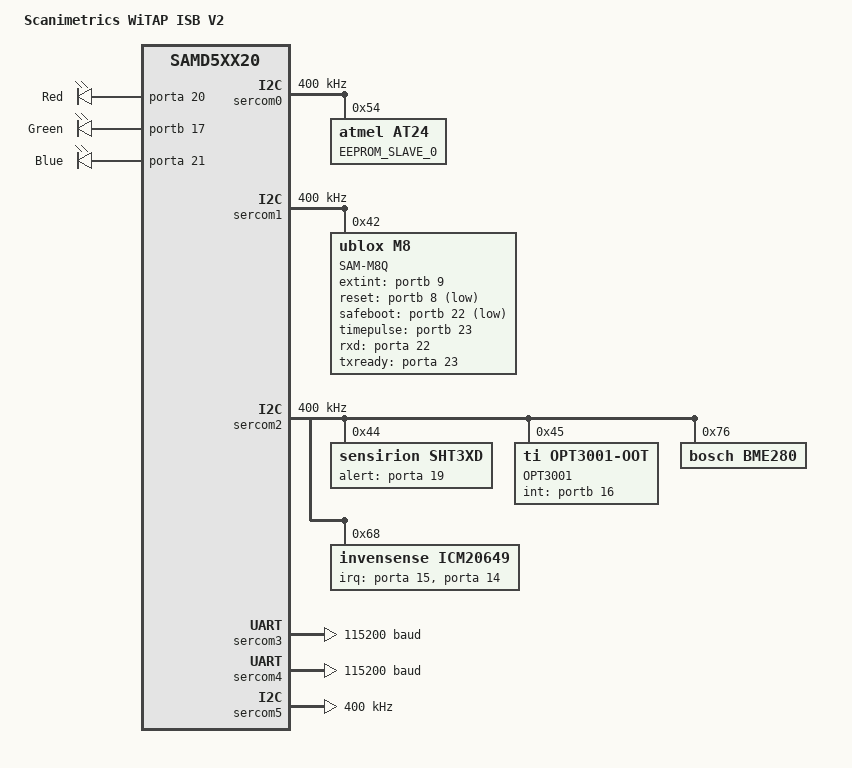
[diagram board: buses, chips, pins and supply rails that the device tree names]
/*
 * Copyright (c) 2019 Scanimetrics Inc.
 *
 * SPDX-License-Identifier: Apache-2.0
 */

/*
 *
 *  See this guide for device tree info
 *  https://docs.zephyrproject.org/latest/guides/dts/index.html
 *
 *  The device tree specification is here:
 *  https://www.devicetree.org/specifications/
 *
 */

/dts-v1/;
#include <scanimetrics/samd5xx20.dtsi>
#include <dt-bindings/gpio/gpio.h>
#include <../../modules/hal/atmel/asf/sam0/include/samd51/instance/sercom0.h>
#include <../../modules/hal/atmel/asf/sam0/include/samd51/instance/sercom1.h>
#include <../../modules/hal/atmel/asf/sam0/include/samd51/instance/sercom2.h>
#include <../../modules/hal/atmel/asf/sam0/include/samd51/instance/sercom3.h>
#include <../../modules/hal/atmel/asf/sam0/include/samd51/instance/sercom4.h>
#include <../../modules/hal/atmel/asf/sam0/include/samd51/instance/sercom5.h>
#include <../../modules/hal/atmel/asf/sam0/include/samd51/instance/sercom6.h>
#include <../../modules/hal/atmel/asf/sam0/include/samd51/instance/sercom7.h>

/ {
	model = "Scanimetrics WiTAP ISB V2";
	compatible = "scanimetrics,witap_isb_v2";

	chosen {
		/* console UART can be overridden by CONFIG_UART_CONSOLE_ON_DEV_NAME */
		zephyr,console = &sercom4;
		/* shell UART can be overridden by CONFIG_UART_SHELL_ON_DEV_NAME */
		zephyr,shell-uart = &sercom4;
		zephyr,sram = &sram0;
		zephyr,flash = &flash0;
		zephyr,code-partition = &code_partition;
	};

	/* These aliases are provided for compatibility with samples */
	aliases {
		led-red = &led0;
		led-green = &led1;
		led-blue = &led2;
	};

	led-pins {
		compatible = "gpio-leds";
		led0: led_0 {
			gpios = <&porta 20 (GPIO_ACTIVE_HIGH)>;
			label = "Red";
		};
		led1: led_1 {
			gpios = <&portb 17 (GPIO_ACTIVE_HIGH)>;
			label = "Green";
		};
		led2: led_2 {
			gpios = <&porta 21 (GPIO_ACTIVE_HIGH)>;
			label = "Blue";
		};
	};

	enable-pins {
		compatible = "gpio";
		sensor1: pa6 {
			gpios = <&porta 6 (GPIO_ACTIVE_HIGH)>;
			label = "sensor-en1";
		};
		sensor2: pa2 {
			gpios = <&porta 2 (GPIO_ACTIVE_HIGH)>;
			label = "sensor-en2";
		};
	};

	host-pins {
		compatible = "gpio";
		hostint1: pa10 {
			gpios = <&porta 10 (GPIO_ACTIVE_HIGH)>;
			label = "host-int1";
		};
	};

	interrupt-pins {
		compatible = "gpio";
		imuint1: pa15 {
			gpios = <&porta 15 (GPIO_ACTIVE_HIGH)>;
			label = "imu-int1";
		};
		imuint2: pa14 {
			gpios = <&porta 14 (GPIO_ACTIVE_HIGH)>;
			label = "imu-int2";
		};
		alsalert: pb16 {
			gpios = <&portb 16 (GPIO_ACTIVE_HIGH)>;
			label = "als-alert";
		};
		thsalert: pa19 {
			gpios = <&porta 19 (GPIO_ACTIVE_HIGH)>;
			label = "ths-alert";
		};
	};

	debug-pins {
		compatible = "gpio";
		debug0: debug_0 {
			gpios = <&portb 4 0>;
			label = "DEBUG0";
		};
		debug1: debug_1 {
			gpios = <&portb 5 0>;
			label = "DEBUG1";
		};
		debug2: debug_2 {
			gpios = <&portb 0 0>;
			label = "DEBUG2";
		};
	};

	unused-pins {
		compatible = "gpio";
		pa3: pa3 {
			gpios = <&porta 3 0>;
			label = "pa3";
		};
		pa11: pa11 {
			gpios = <&porta 11 0>;
			label = "pa11";
		};
		// pa12: pa12 {
		// 	gpios = <&porta 12 0>;
		// 	label = "pa12";
		// };
		// pa13: pa13 {
		// 	gpios = <&porta 13 0>;
		// 	label = "pa13";
		// };
		pa18: pa18 {
			gpios = <&porta 18 0>;
			label = "pa18";
		};
		pa27: pa27 {
			gpios = <&porta 27 0>;
			label = "pa27";
		};
		pa28: pa28 {
			gpios = <&porta 28 0>;
			label = "pa28";
		};
		pb4: pb4 {
			gpios = <&portb 4 0>;
			label = "pb4";
		};
		pb5: pb5 {
			gpios = <&portb 5 0>;
			label = "pb5";
		};
		pb6: pb6 {
			gpios = <&portb 6 0>;
			label = "pb6";
		};
		pb7: pb7 {
			gpios = <&portb 7 0>;
			label = "pb7";
		};
		pb10: pb10 {
			gpios = <&portb 10 0>;
			label = "pb10";
		};
		pb11: pb11 {
			gpios = <&portb 11 0>;
			label = "pb11";
		};
		pb12: pb12 {
			gpios = <&portb 12 0>;
			label = "pb12";
		};
		pb13: pb13 {
			gpios = <&portb 13 0>;
			label = "pb13";
		};
		pb14: pb14 {
			gpios = <&portb 14 0>;
			label = "pb14";
		};
		pb15: pb15 {
			gpios = <&portb 15 0>;
			label = "pb15";
		};
		pb30: pb30 {
			gpios = <&portb 30 0>;
			label = "pb30";
		};
		pb31: pb31 {
			gpios = <&portb 31 0>;
			label = "pb31";
		};
	};
};

&cpu0 {
	clock-frequency = <48000000>;
};

//  SERCOM0 is used for board to board communication between ISB and MKR WAN (DOCK)
&sercom0 {
	compatible = "atmel,sam0-i2c";
	#address-cells = <1>;
	#size-cells = <0>;
	//  see ZEPHYR_INCLUDE_DT_BINDINGS_I2C_I2C_H_ for frequency defines
	clock-frequency = <I2C_BITRATE_FAST>;
	dmas = <&dmac 0 SERCOM0_DMAC_ID_TX>, <&dmac 0 SERCOM0_DMAC_ID_RX>;
	dma-names = "tx", "rx";

	eeprom@54 {
		compatible = "atmel,at24";
		reg = <0x54>;
		label = "EEPROM_SLAVE_0";
		size = <256>;
		pagesize = <16>;
		address-width = <8>;
		timeout = <5>;
	};
};

//  SERCOM1 is connected to the onboard GPS module i2c
&sercom1 {
	compatible = "atmel,sam0-i2c";
	//  see ZEPHYR_INCLUDE_DT_BINDINGS_I2C_I2C_H_ for frequency defines
	clock-frequency = <I2C_BITRATE_FAST>;
	// label = "I2C_1";
	#address-cells = <1>;
	#size-cells = <0>;
	dmas = <&dmac 1 SERCOM1_DMAC_ID_TX>, <&dmac 1 SERCOM1_DMAC_ID_RX>;
	dma-names = "tx", "rx";

	samm8q: samm8q@42 {
		compatible = "ublox,m8";
		label = "SAM-M8Q";
		reg = <0x42>;
		extint-gpios = <&portb 9 GPIO_ACTIVE_HIGH>;
		reset-gpios = <&portb 8 GPIO_ACTIVE_LOW>;
		safeboot-gpios = <&portb 22 GPIO_ACTIVE_LOW>;
		timepulse-gpios = <&portb 23 GPIO_ACTIVE_HIGH>;
		rxd-gpios = <&porta 22 GPIO_ACTIVE_HIGH>;
		txready-gpios = <&porta 23 GPIO_ACTIVE_HIGH>;
	};
};

//  SERCOM2 is the onboard internal sensor i2c bus
&sercom2 {
	compatible = "atmel,sam0-i2c";
	//  see zephyr/include/dt-bindings/i2c/i2c.h for device tree frequency defines
	clock-frequency = <I2C_BITRATE_FAST>;
	#address-cells = <1>;
	#size-cells = <0>;
	dmas = <&dmac 2 SERCOM2_DMAC_ID_TX>, <&dmac 2 SERCOM2_DMAC_ID_RX>;
	dma-names = "tx", "rx";

	ths0: sht3xd@44 {
		compatible = "sensirion,sht3xd";
		label = "SHT3XD";
		reg = <0x44>;
		alert-gpios = <&porta 19 GPIO_ACTIVE_HIGH>;
	};

	als0: opt3001@45 {
		compatible = "ti,opt3001-oot";
		label = "OPT3001";
		reg = <0x45>;
		int-gpios = <&portb 16 0>;
	};

	bps0: bme280@76 {
		compatible = "bosch,bme280";
		label = "BME280";
		reg = <0x76>;
	};

	imu0: icm20649@68 {
		compatible = "invensense,icm20649";
		label = "ICM20649";
		reg = <0x68>;
		irq-gpios = <&porta 15 0>, <&porta 14 0>;
	};
};

//  SERCOM3 is the GPS module serial UART
&sercom3 {
	compatible = "atmel,sam0-uart";
	// clocks = <&gclk 0x17>, <&pm 0x20 5>, <&gclk0>;
	// clock-names = "GCLK", "PM", "GEN";
	current-speed = <115200>;
	//  GPS RXD <-- MCU TXD (PAD0)
	txpo = <0>;
	//  GPS TXD --> MCU RXD (PAD1)
	rxpo = <1>;
};

//  SERCOM4 is the Zephyr console UART
&sercom4 {
	compatible = "atmel,sam0-uart";
	// clocks = <&gclk 0x18>, <&pm 0x20 6>, <&gclk0>;
	// clock-names = "GCLK", "PM", "GEN";
	current-speed = <115200>;
	//  CONSOLE TXD <-- MCU TXD (PAD0)
	txpo = <0>;
	//  CONSOLE RXD --> MCU RXD (PAD1)
	// rxpo = <1>;
/*
 * Errata 2.18.19 SERCOM-USART: Overconsumption in Standby mode
 * When SERCOM USART CTRLA.RUNSTDBY= 0 and the Receiver is disabled
 * (CTRLB.RXEN= 0), the clock request to the GCLK generator feeding the SERCOM
 * will stay asserted during Standby mode, leading to unexpected
 * over-consumption.
 *
 * Workaround
 * Configure CTRLA.RXPO and CTRLA.TXPO in order to use the same SERCOM PAD for
 * RX and TX or add an external pull-up on the RX pin.
 */
	rxpo = <0>;
};

//  SERCOM5 is the external sensor i2c bus
&sercom5 {
	compatible = "atmel,sam0-i2c";
	//  see zephyr/include/dt-bindings/i2c/i2c.h for device tree frequency defines
	clock-frequency = <I2C_BITRATE_FAST>;
	#address-cells = <1>;
	#size-cells = <0>;
	dmas = <&dmac 3 SERCOM5_DMAC_ID_TX>, <&dmac 3 SERCOM5_DMAC_ID_RX>;
	dma-names = "tx", "rx";
};

/*
 *  See this link for additional info on flash partitions
 *  https://github.com/zephyrproject-rtos/zephyr/blob/master/doc/guides/dts/flash_partitions.inc
 *
 *  Note, for some reason, code is not place automatically in the code partition
 *  To do so, you need to ensure that the base address is set in your project config
 *  For example:
 *    CONFIG_FLASH_BASE_ADDRESS=0x2000
 *
 */

&flash0 {
	partitions {
		compatible = "fixed-partitions";
		#address-cells = <1>;
		#size-cells = <1>;

		boot_partition: partition@0 {
			label = "uf2";
			reg = <0x00000000 DT_SIZE_K(16)>;
			read-only;
		};

		code_partition: partition@4000 {
			label = "code";
			reg = <0x4000 DT_SIZE_K(1024 - 16 - 32)>;
			read-only;
		};

		/*
		 * 32 KiB is reserved for the application
		 * and is used by LITTLEFS if enabled.
		 */
		storage_partition: partition@f8000 {
			label = "storage";
			reg = <0x000f8000 DT_SIZE_K(32)>;
		};

		/*
		 * MCUBoot partitions
		 */
		image_0_primary_partition: partition@20000 {
			label = "image_0_primary";
			reg = <0x20000 DT_SIZE_K(384)>;
			read-only;
		};

		image_0_secondary_partition: partition@80000 {
			label = "image_0_secondary";
			reg = <0x80000 DT_SIZE_K(384)>;
			read-only;
		};

		scratch_partition:  partition@e0000 {
			label = "scratch";
			reg = <0xe0000 DT_SIZE_K(128)>;
			read-only;
		};
	};
};

&rtc {
	prescaler = <0>;
	clock-frequency = <32768>;
};
